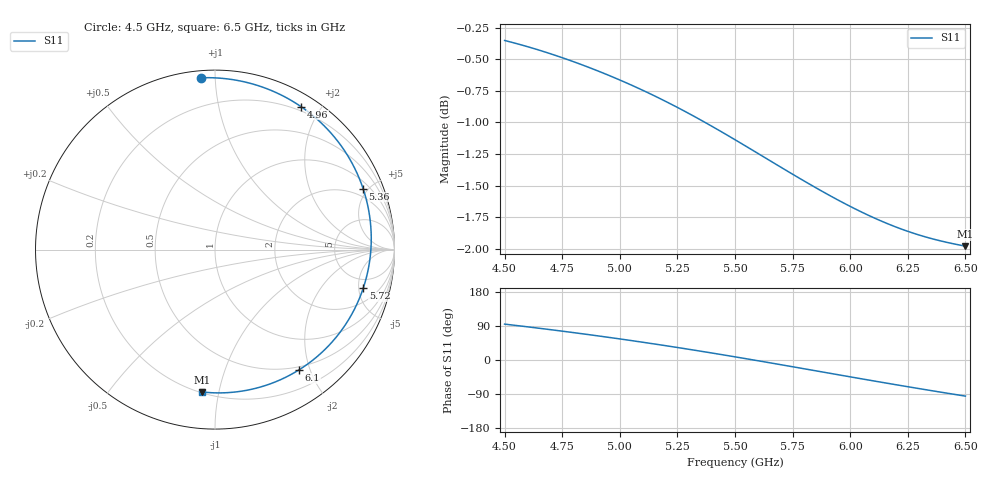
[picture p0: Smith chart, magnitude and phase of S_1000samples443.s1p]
! TOUCHSTONE file generated by CST MICROWAVE STUDIO
! Date and time: Fri Oct 28 04:49:23 2022
! Project name: L.cst
! Parameters = {Di=1.27; Epsilon_r=1.56; InnerDiameter=1.27; Length=2; Lf=10; Lg=60; OuterConductorThickness=0.2921; OuterDiameter=3.6; Wf=3; Wp=41.2; de=1.5; df=6.8; g=0.8; gx=3.42696; gy=3.85634; h=2.34; hf=1.524; px=10.113; py=11.2203; w=9.7; wx=6.68605; wy=7.364}
! Header version: 2018
! Port assignment regex: !\s*Touchstone port\s*([0-9]+)\s*=\s*(CST MWS port|CST DS port)\s*([0-9]+|Zmin|Zmax)\s*\(\"(.*)\"\)(\s*mode\s*([0-9]+))?.*
! Touchstone port assignment:
! Touchstone port 1 = CST MWS port 1 ("")
# GHz S DB R 50
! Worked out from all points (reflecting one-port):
!   101 points, 4.5 GHz to 6.5 GHz, reference 50 ohm
!   lowest |S11| = -2.0 dB at 6.5 GHz (marker M1), VSWR 8.82, Z = 10.3 - j44.5 ohm
!   phase of S11 starts at 95 deg and turns -190 deg over the sweep
!   S11 on the Smith chart (normalised r, x): 4.5 GHz: 0.04, +0.92; 4.96 GHz: 0.15, +1.76; 5.36 GHz: 1.40, +4.66; 5.72 GHz: 3.54, -5.61; 6.1 GHz: 0.45, -1.83; 6.5 GHz: 0.21, -0.89
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4.5  -0.35 94.7
4.58  -0.39 88.9
4.64  -0.42 84.5
4.76  -0.49 75.3
4.86  -0.56 67.4
4.96  -0.63 59.0
5  -0.66 55.6
5.12  -0.76 45.0
5.2  -0.83 37.7
5.26  -0.89 32.0
5.36  -0.99 22.4
5.44  -1.07 14.4
5.5  -1.14 8.3
5.6  -1.25 -2.0
5.66  -1.31 -8.3
5.72  -1.38 -14.6
5.76  -1.42 -18.9
5.82  -1.48 -25.3
5.88  -1.55 -31.7
5.94  -1.61 -38.1
6  -1.66 -44.4
6.1  -1.75 -55.0
6.18  -1.81 -63.3
6.26  -1.87 -71.5
6.32  -1.90 -77.6
6.38  -1.93 -83.6
6.44  -1.96 -89.5
6.5  -1.98 -95.3
